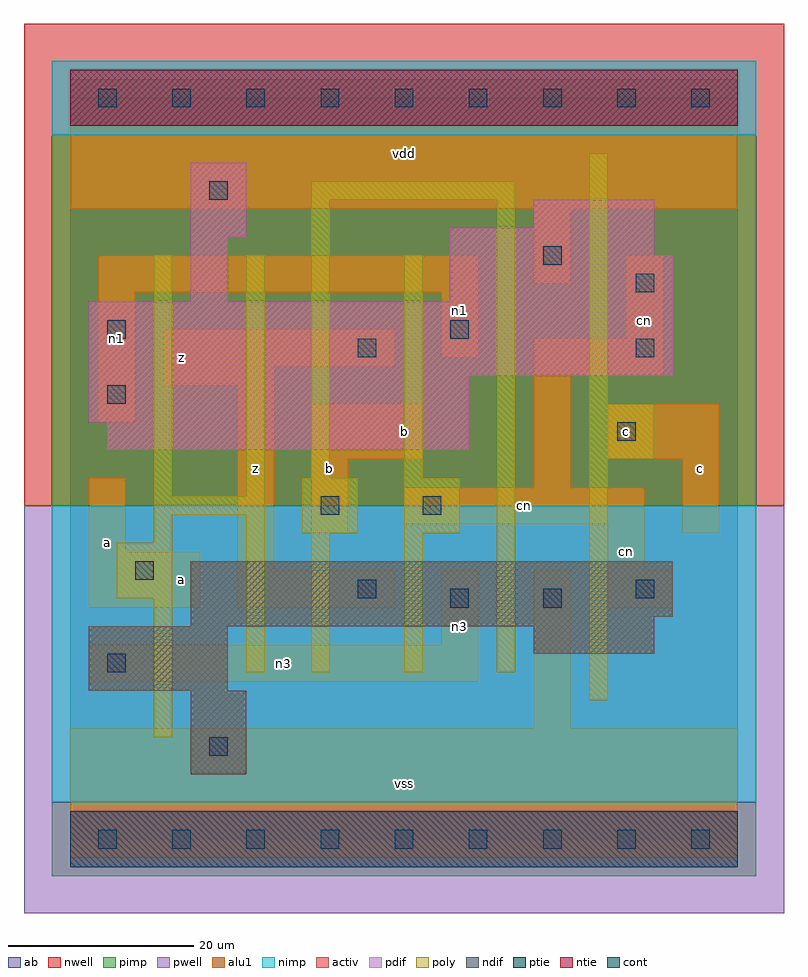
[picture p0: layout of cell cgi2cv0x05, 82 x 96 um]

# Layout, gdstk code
import gdstk
lib = gdstk.Library(unit=1e-6, precision=1e-09)
def R(c, l, rs):  # rectangles x0, y0, x1, y1
    for r in rs: c.add(gdstk.rectangle(r[:2], r[2:], *l))
def A(c, l, x, y, w, h, nx, ny, dx, dy):  # array of equal rectangles
    R(c, l, [(x+i*dx, y+j*dy, x+i*dx+w, y+j*dy+h) for i in range(nx) for j in range(ny)])
ndif = (3, 0)
pdif = (4, 0)
ntie = (5, 0)
ptie = (6, 0)
cont = (25, 0)
pwell = (41, 0)
nwell = (42, 0)
activ = (43, 0)
pimp = (44, 0)
nimp = (45, 0)
poly = (46, 0)
alu1 = (49, 0)
ab = (63, 0)

cgi2cv0x05 = lib.new_cell('cgi2cv0x05')
R(cgi2cv0x05, ndif, [(13,7,19,16), (2,16,17,23), (50,20,63,23), (13,23,63,24), (13,24,65,30)])
R(cgi2cv0x05, pdif, [(4,42,43,45), (2,45,43,50), (2,50,65,58), (13,58,17,65), (41,58,65,63), (41,63,63,66), (13,65,19,73), (50,66,63,69)])
R(cgi2cv0x05, ntie, [(0,77,72,83)])
R(cgi2cv0x05, ptie, [(0,-3,72,3)])
A(cgi2cv0x05, cont, 3, -1, 2, 2, 9, 2, 8, 80)
R(cgi2cv0x05, cont, [(15,9,17,11), (4,18,6,20), (41,25,43,27), (51,25,53,27), (31,26,33,28), (61,26,63,28), (7,28,9,30), (27,35,29,37), (38,35,40,37), (59,43,61,45), (4,47,6,49), (31,52,33,54), (61,52,63,54), (4,54,6,56), (41,54,43,56), (61,59,63,61), (51,62,53,64), (15,69,17,71)])
R(cgi2cv0x05, pwell, [(-5,-8,77,36)])
R(cgi2cv0x05, nwell, [(-5,36,77,88)])
R(cgi2cv0x05, activ, [(0,-3,72,3), (13,7,19,16), (2,16,17,23), (50,20,63,23), (13,23,63,24), (13,24,65,30), (4,42,43,45), (2,45,43,50), (2,50,65,58), (13,58,17,65), (41,58,65,63), (41,63,63,66), (13,65,19,73), (50,66,63,69), (0,77,72,83)])
R(cgi2cv0x05, pimp, [(-2,-4,74,4), (-2,36,74,76)])
R(cgi2cv0x05, nimp, [(-2,4,74,36), (-2,76,74,84)])
R(cgi2cv0x05, poly, [(9,11,11,26), (56,15,58,41), (19,18,21,35), (26,18,28,33), (36,18,38,33), (46,18,48,69), (5,26,11,32), (9,32,11,35), (25,33,31,39), (36,33,42,39), (9,35,21,37), (9,37,11,63), (19,37,21,63), (26,39,28,69), (36,39,38,63), (56,41,63,47), (56,47,58,74), (26,69,48,71)])
R(cgi2cv0x05, alu1, [(0,-2,72,12), (50,12,54,29), (2,17,44,21), (40,21,44,29), (2,25,14,31), (18,25,35,29), (58,25,65,29), (18,29,22,49), (58,29,62,34), (2,31,6,39), (26,33,30,41), (66,33,70,41), (36,34,62,38), (50,38,54,50), (26,41,38,47), (58,41,70,47), (3,45,7,59), (10,49,22,51), (50,50,64,54), (10,51,35,55), (40,52,44,59), (60,54,64,63), (3,59,44,63), (50,60,54,68), (0,68,72,82)])
R(cgi2cv0x05, ab, [(0,0,72,80)])
cgi2cv0x05.add(gdstk.Label('n1', (5,54), layer=49, texttype=0))
cgi2cv0x05.add(gdstk.Label('n3', (42,23), layer=49, texttype=0))
cgi2cv0x05.add(gdstk.Label('n3', (23,19), layer=49, texttype=0))
cgi2cv0x05.add(gdstk.Label('n1', (42,57), layer=49, texttype=0))
cgi2cv0x05.add(gdstk.Label('cn', (49,36), layer=49, texttype=0))
cgi2cv0x05.add(gdstk.Label('cn', (60,31), layer=49, texttype=0))
cgi2cv0x05.add(gdstk.Label('cn', (62,56), layer=49, texttype=0))
cgi2cv0x05.add(gdstk.Label('a', (4,32), layer=49, texttype=0))
cgi2cv0x05.add(gdstk.Label('a', (12,28), layer=49, texttype=0))
cgi2cv0x05.add(gdstk.Label('z', (12,52), layer=49, texttype=0))
cgi2cv0x05.add(gdstk.Label('b', (28,40), layer=49, texttype=0))
cgi2cv0x05.add(gdstk.Label('z', (20,40), layer=49, texttype=0))
cgi2cv0x05.add(gdstk.Label('vss', (36,6), layer=49, texttype=0))
cgi2cv0x05.add(gdstk.Label('b', (36,44), layer=49, texttype=0))
cgi2cv0x05.add(gdstk.Label('vdd', (36,74), layer=49, texttype=0))
cgi2cv0x05.add(gdstk.Label('c', (68,40), layer=49, texttype=0))
cgi2cv0x05.add(gdstk.Label('c', (60,44), layer=49, texttype=0))

lib.write_gds('cgi2cv0x05.gds')
